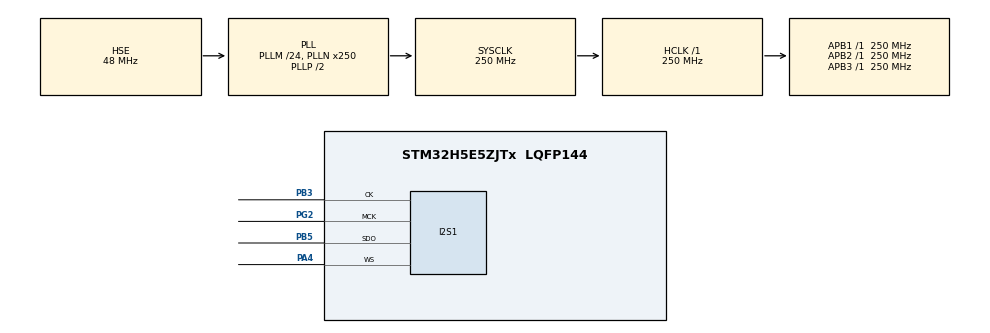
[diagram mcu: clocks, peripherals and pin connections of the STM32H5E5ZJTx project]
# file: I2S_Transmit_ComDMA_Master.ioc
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BOOTPATH.BootPathName=LEGACY
BOOTPATH.UserSelectedBootPath=LEGACY
CORTEX_M33_NS.userName=CORTEX_M33
GPDMA1.DESTDATAWIDTH_GPDMACH0=DMA_DEST_DATAWIDTH_HALFWORD
GPDMA1.DIRECTION_GPDMACH0=DMA_MEMORY_TO_PERIPH
GPDMA1.IPHANDLE_GPDMACH0-SIMPLEREQUEST_GPDMACH0=__NULL
GPDMA1.PRIORITY_GPDMACH0=DMA_HIGH_PRIORITY
GPDMA1.REQUEST_GPDMACH0=GPDMA1_REQUEST_SPI1_TX
GPDMA1.SRCDATAWIDTH_GPDMACH0=DMA_SRC_DATAWIDTH_HALFWORD
GPDMA1.SRCINC_GPDMACH0=DMA_SINC_INCREMENTED
I2S1.Data24BitAlignment=I2S_DATA_24BIT_ALIGNMENT_LEFT
I2S1.ErrorAudioFreq=0.05 %
I2S1.Instance=SPI$Index
I2S1.MasterKeepIOState=I2S_MASTER_KEEP_IO_STATE_ENABLE
I2S1.RealAudioFreq=8.004 KHz
Mcu.Family=STM32H5
Mcu.Name=STM32H5E5ZJTx
Mcu.Package=LQFP144
NVIC.GPDMA1_Channel0_IRQn=true\:0\:0\:false\:false\:true\:false\:true\:true
NVIC.PriorityGroup=NVIC_PRIORITYGROUP_4
NVIC.SPI1_IRQn=true\:0\:0\:false\:false\:true\:true\:true\:true
PA4.Mode=Half_Duplex_Master_Tx
PA4.Signal=I2S1_WS
PB3\ (JTDO/TRACESWO).Mode=Half_Duplex_Master_Tx
PB3\ (JTDO/TRACESWO).Signal=I2S1_CK
PB5.Mode=Half_Duplex_Master_Tx
PB5.Signal=I2S1_SDO
PG2.Mode=Master_Clock_Activated
PG2.Signal=I2S1_MCK
PH0-OSC_IN(PH0).Mode=HSE-External-Oscillator
PH0-OSC_IN(PH0).Signal=RCC_OSC_IN
PH1-OSC_OUT(PH1).Mode=HSE-External-Oscillator
PH1-OSC_OUT(PH1).Signal=RCC_OSC_OUT
ProjectManager.HeapSize=0x200
ProjectManager.StackSize=0x400
ProjectManager.TargetToolchain=EWARM V9.20
RCC.ADCFreq_Value=250000000
RCC.AHBFreq_Value=250000000
RCC.APB1Freq_Value=250000000
RCC.APB1TimFreq_Value=250000000
RCC.APB2Freq_Value=250000000
RCC.APB2TimFreq_Value=250000000
RCC.APB3Freq_Value=250000000
RCC.CSI_VALUE=4000000
RCC.CortexFreq_Value=250000000
RCC.EPOD_VALUE=48000000
RCC.HCLKFreq_Value=250000000
RCC.HSE_VALUE=48000000
RCC.HSI48_VALUE=48000000
RCC.HSI_VALUE=64000000
RCC.LSE_VALUE=32768
RCC.LSIRC_VALUE=32000
RCC.PLLM=24
RCC.PLLN=250
RCC.PLLSourceVirtual=RCC_PLL1_SOURCE_HSE
RCC.SYSCLKFreq_VALUE=250000000
RCC.SYSCLKSource=RCC_SYSCLKSOURCE_PLLCLK
RCC.USBFreq_Value=258000000
RCC.VCOOutputFreq_Value=500000000
VP_BOOTPATH_VS_BOOTPATH.Mode=BP_Activate
VP_CORTEX_M33_NS_VS_Hclk.Mode=Hclk_Mode
VP_GPDMA1_VS_GPDMACH0.Mode=SIMPLEREQUEST_GPDMACH0
VP_ICACHE_VS_ICACHE.Mode=DefaultMode
VP_PWR_VS_LPOM.Mode=PowerOptimisation
VP_PWR_VS_SECSignals.Mode=Security/Privilege
board=custom

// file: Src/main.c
/* USER CODE BEGIN Header */
/**
  ******************************************************************************
  * @file           : main.c
  * @brief          : Main program body
  ******************************************************************************
  * @attention
  *
  * Copyright (c) 2025 STMicroelectronics.
  * All rights reserved.
  *
  * This software is licensed under terms that can be found in the LICENSE file
  * in the root directory of this software component.
  * If no LICENSE file comes with this software, it is provided AS-IS.
  *
  ******************************************************************************
  */
/* USER CODE END Header */
#include "main.h"

I2S_HandleTypeDef hi2s1;
DMA_HandleTypeDef handle_GPDMA1_Channel0;

/* USER CODE BEGIN PV */
uint16_t NumberOfDataToTransfert = 0x00;

uint32_t Tab_Tx_32[32] = {0x51525354, 0x55565758, 0x595A5B5C, 0x5D5E5F60,
                          0x61626364, 0x65666768, 0x696A6B6C, 0x6D6E6F70,
                          0x71727374, 0x75767778, 0x797A7B7C, 0x7D7E7F80,
                          0x81828384, 0x85868788, 0x898A8B8C, 0x8D8E8F90,
                          0x51525354, 0x55565758, 0x595A5B5C, 0x5D5E5F60,
                          0x61626364, 0x65666768, 0x696A6B6C, 0x6D6E6F70,
                          0x71727374, 0x75767778, 0x797A7B7C, 0x7D7E7F80,
                          0x81828384, 0x85868788, 0x898A8B8C, 0x8D8E8F90};
/* USER CODE END PV */

void SystemClock_Config(void);
static void MX_GPIO_Init(void);
static void MX_GPDMA1_Init(void);
static void MX_ICACHE_Init(void);
static void MX_I2S1_Init(void);

int main(void)
{

  /* MCU Configuration--------------------------------------------------------*/

  /* Reset of all peripherals, Initializes the Flash interface and the Systick. */
  HAL_Init();

  /* Configure the system clock */
  SystemClock_Config();

  /* USER CODE BEGIN SysInit */
  BSP_LED_Init(LED_GREEN);
  BSP_LED_Init(LED_RED);
  /* USER CODE END SysInit */

  /* Initialize all configured peripherals */
  MX_GPIO_Init();
  MX_GPDMA1_Init();
  MX_ICACHE_Init();
  MX_I2S1_Init();
  /* USER CODE BEGIN 2 */

  NumberOfDataToTransfert = 64;

  /* Begin the communication in I2S mode: Send a data from I2S2 */
  HAL_I2S_Transmit_DMA(&hi2s1, (uint16_t*)&Tab_Tx_32, NumberOfDataToTransfert);

  while(HAL_I2S_GetState(&hi2s1) != HAL_I2S_STATE_READY);
  /* USER CODE END 2 */

  /* Infinite loop */
  while (1)
  {

  }
}

void SystemClock_Config(void)
{
  RCC_OscInitTypeDef RCC_OscInitStruct = {0};
  RCC_ClkInitTypeDef RCC_ClkInitStruct = {0};

  /** Configure the main internal regulator output voltage
  */
  __HAL_PWR_VOLTAGESCALING_CONFIG(PWR_REGULATOR_VOLTAGE_SCALE0);

  while(!__HAL_PWR_GET_FLAG(PWR_FLAG_VOSRDY)) {}

  /** Initializes the RCC Oscillators according to the specified parameters
  * in the RCC_OscInitTypeDef structure.
  */
  RCC_OscInitStruct.OscillatorType = RCC_OSCILLATORTYPE_HSE;
  RCC_OscInitStruct.HSEState = RCC_HSE_ON;
  RCC_OscInitStruct.PLL.PLLState = RCC_PLL_ON;
  RCC_OscInitStruct.PLL.PLLSource = RCC_PLL1_SOURCE_HSE;
  RCC_OscInitStruct.PLL.PLLM = 24;
  RCC_OscInitStruct.PLL.PLLN = 250;
  RCC_OscInitStruct.PLL.PLLP = 2;
  RCC_OscInitStruct.PLL.PLLQ = 2;
  RCC_OscInitStruct.PLL.PLLR = 2;
  RCC_OscInitStruct.PLL.PLLRGE = RCC_PLL1_VCIRANGE_1;
  RCC_OscInitStruct.PLL.PLLVCOSEL = RCC_PLL1_VCORANGE_WIDE;
  RCC_OscInitStruct.PLL.PLLFRACN = 0;
  if (HAL_RCC_OscConfig(&RCC_OscInitStruct) != HAL_OK)
  {
    Error_Handler();
  }

  /** Initializes the CPU, AHB and APB buses clocks
  */
  RCC_ClkInitStruct.ClockType = RCC_CLOCKTYPE_HCLK|RCC_CLOCKTYPE_SYSCLK
                              |RCC_CLOCKTYPE_PCLK1|RCC_CLOCKTYPE_PCLK2
                              |RCC_CLOCKTYPE_PCLK3;
  RCC_ClkInitStruct.SYSCLKSource = RCC_SYSCLKSOURCE_PLLCLK;
  RCC_ClkInitStruct.AHBCLKDivider = RCC_SYSCLK_DIV1;
  RCC_ClkInitStruct.APB1CLKDivider = RCC_HCLK_DIV1;
  RCC_ClkInitStruct.APB2CLKDivider = RCC_HCLK_DIV1;
  RCC_ClkInitStruct.APB3CLKDivider = RCC_HCLK_DIV1;

  if (HAL_RCC_ClockConfig(&RCC_ClkInitStruct, FLASH_LATENCY_5) != HAL_OK)
  {
    Error_Handler();
  }

  /** Configure the programming delay
  */
  __HAL_FLASH_SET_PROGRAM_DELAY(FLASH_PROGRAMMING_DELAY_2);
}

static void MX_GPDMA1_Init(void)
{

  /* Peripheral clock enable */
  __HAL_RCC_GPDMA1_CLK_ENABLE();

  /* GPDMA1 interrupt Init */
    HAL_NVIC_SetPriority(GPDMA1_Channel0_IRQn, 0, 0);
    HAL_NVIC_EnableIRQ(GPDMA1_Channel0_IRQn);

}

static void MX_I2S1_Init(void)
{

  hi2s1.Instance = SPI1;
  hi2s1.Init.Mode = I2S_MODE_MASTER_TX;
  hi2s1.Init.Standard = I2S_STANDARD_PHILIPS;
  hi2s1.Init.DataFormat = I2S_DATAFORMAT_16B;
  hi2s1.Init.MCLKOutput = I2S_MCLKOUTPUT_ENABLE;
  hi2s1.Init.AudioFreq = I2S_AUDIOFREQ_8K;
  hi2s1.Init.CPOL = I2S_CPOL_LOW;
  hi2s1.Init.FirstBit = I2S_FIRSTBIT_MSB;
  hi2s1.Init.WSInversion = I2S_WS_INVERSION_DISABLE;
  hi2s1.Init.Data24BitAlignment = I2S_DATA_24BIT_ALIGNMENT_LEFT;
  hi2s1.Init.MasterKeepIOState = I2S_MASTER_KEEP_IO_STATE_ENABLE;
  if (HAL_I2S_Init(&hi2s1) != HAL_OK)
  {
    Error_Handler();
  }

}

static void MX_ICACHE_Init(void)
{

  /** Enable instruction cache (default 2-ways set associative cache)
  */
  if (HAL_ICACHE_Enable() != HAL_OK)
  {
    Error_Handler();
  }

}

static void MX_GPIO_Init(void)
{

  /* GPIO Ports Clock Enable */
  __HAL_RCC_GPIOH_CLK_ENABLE();

}

/* USER CODE BEGIN 4 */
void HAL_I2S_TxCpltCallback(I2S_HandleTypeDef *hspi)
{
  BSP_LED_On(LED_GREEN);
}
/* USER CODE END 4 */

void Error_Handler(void)
{
  /* USER CODE BEGIN Error_Handler_Debug */
  /* User can add his own implementation to report the HAL error return state */
  __disable_irq();
  while (1)
  {
    BSP_LED_Toggle(LED_RED);
  }
  /* USER CODE END Error_Handler_Debug */
}
